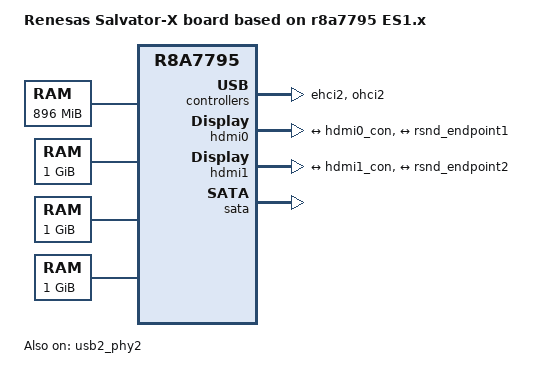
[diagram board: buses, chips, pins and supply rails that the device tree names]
// SPDX-License-Identifier: GPL-2.0
/*
 * Device Tree Source for the Salvator-X board with R-Car H3 ES1.x
 *
 * Copyright (C) 2015 Renesas Electronics Corp.
 */

/dts-v1/;
#include "r8a7795-es1.dtsi"
#include "salvator-x.dtsi"

/ {
	model = "Renesas Salvator-X board based on r8a7795 ES1.x";
	compatible = "renesas,salvator-x", "renesas,r8a7795";

	memory@48000000 {
		device_type = "memory";
		/* first 128MB is reserved for secure area. */
		reg = <0x0 0x48000000 0x0 0x38000000>;
	};

	memory@500000000 {
		device_type = "memory";
		reg = <0x5 0x00000000 0x0 0x40000000>;
	};

	memory@600000000 {
		device_type = "memory";
		reg = <0x6 0x00000000 0x0 0x40000000>;
	};

	memory@700000000 {
		device_type = "memory";
		reg = <0x7 0x00000000 0x0 0x40000000>;
	};
};

&du {
	clocks = <&cpg CPG_MOD 724>,
		 <&cpg CPG_MOD 723>,
		 <&cpg CPG_MOD 722>,
		 <&cpg CPG_MOD 721>,
		 <&versaclock5 1>,
		 <&x21_clk>,
		 <&x22_clk>,
		 <&versaclock5 2>;
	clock-names = "du.0", "du.1", "du.2", "du.3",
		      "dclkin.0", "dclkin.1", "dclkin.2", "dclkin.3";
};

&ehci2 {
	status = "okay";
};

&sound_card {
	dais = <&rsnd_port0	/* ak4613 */
		&rsnd_port1	/* HDMI0  */
		&rsnd_port2>;	/* HDMI1  */
};

&hdmi0 {
	status = "okay";

	ports {
		port@1 {
			reg = <1>;
			rcar_dw_hdmi0_out: endpoint {
				remote-endpoint = <&hdmi0_con>;
			};
		};
		port@2 {
			reg = <2>;
			dw_hdmi0_snd_in: endpoint {
				remote-endpoint = <&rsnd_endpoint1>;
			};
		};
	};
};

&hdmi0_con {
	remote-endpoint = <&rcar_dw_hdmi0_out>;
};

&hdmi1 {
	status = "okay";

	ports {
		port@1 {
			reg = <1>;
			rcar_dw_hdmi1_out: endpoint {
				remote-endpoint = <&hdmi1_con>;
			};
		};
		port@2 {
			reg = <2>;
			dw_hdmi1_snd_in: endpoint {
				remote-endpoint = <&rsnd_endpoint2>;
			};
		};
	};
};

&hdmi1_con {
	remote-endpoint = <&rcar_dw_hdmi1_out>;
};

&ohci2 {
	status = "okay";
};

&rcar_sound {
	ports {
		/* rsnd_port0 is on salvator-common */
		rsnd_port1: port@1 {
			rsnd_endpoint1: endpoint {
				remote-endpoint = <&dw_hdmi0_snd_in>;

				dai-format = "i2s";
				bitclock-master = <&rsnd_endpoint1>;
				frame-master = <&rsnd_endpoint1>;

				playback = <&ssi2>;
			};
		};
		rsnd_port2: port@2 {
			rsnd_endpoint2: endpoint {
				remote-endpoint = <&dw_hdmi1_snd_in>;

				dai-format = "i2s";
				bitclock-master = <&rsnd_endpoint2>;
				frame-master = <&rsnd_endpoint2>;

				playback = <&ssi3>;
			};
		};
	};
};

&pfc {
	usb2_pins: usb2 {
		groups = "usb2";
		function = "usb2";
	};
};

&sata {
	status = "okay";
};

&usb2_phy2 {
	pinctrl-0 = <&usb2_pins>;
	pinctrl-names = "default";

	status = "okay";
};
